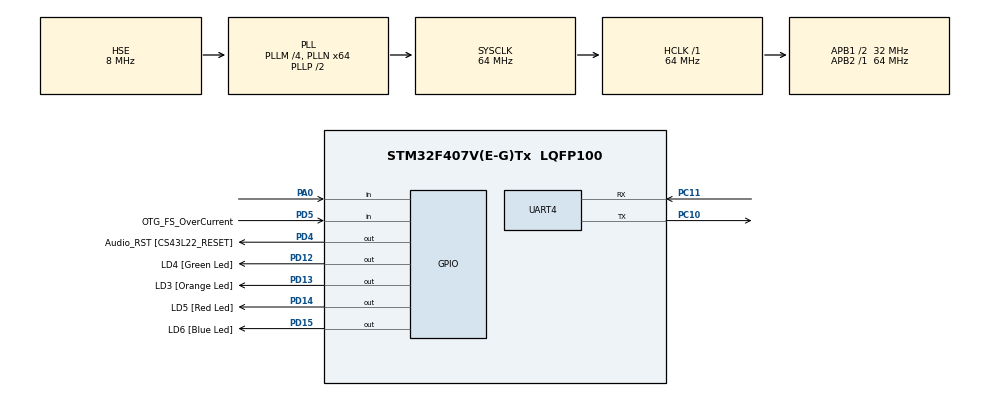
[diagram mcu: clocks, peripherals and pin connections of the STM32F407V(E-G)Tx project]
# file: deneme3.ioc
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ADC1.Channel-0\#ChannelRegularConversion=ADC_CHANNEL_TEMPSENSOR
ADC1.Channel-1\#ChannelRegularConversion=ADC_CHANNEL_VREFINT
ADC1.ContinuousConvMode=ENABLE
ADC1.EOCSelection=ADC_EOC_SINGLE_CONV
ADC1.NbrOfConversion=2
ADC1.NbrOfConversionFlag=1
ADC1.Rank-0\#ChannelRegularConversion=1
ADC1.Rank-1\#ChannelRegularConversion=2
ADC1.SamplingTime-0\#ChannelRegularConversion=ADC_SAMPLETIME_480CYCLES
ADC1.SamplingTime-1\#ChannelRegularConversion=ADC_SAMPLETIME_480CYCLES
ADC1.master=1
Mcu.Family=STM32F4
Mcu.Name=STM32F407V(E-G)Tx
Mcu.Package=LQFP100
NVIC.PriorityGroup=NVIC_PRIORITYGROUP_0
PA0-WKUP.GPIO_PuPd=GPIO_PULLDOWN
PA0-WKUP.Signal=GPIO_Input
PA13.GPIO_Label=SWDIO
PA13.Mode=Serial_Wire
PA13.Signal=SYS_JTMS-SWDIO
PA14.Mode=Serial_Wire
PA14.Signal=SYS_JTCK-SWCLK
PC10.GPIO_Speed=GPIO_SPEED_FREQ_HIGH
PC10.Mode=Asynchronous
PC10.Signal=UART4_TX
PC11.GPIO_Speed=GPIO_SPEED_FREQ_HIGH
PC11.Mode=Asynchronous
PC11.Signal=UART4_RX
PD12.GPIO_Label=LD4 [Green Led]
PD12.GPIO_PuPd=GPIO_NOPULL
PD12.GPIO_Speed=GPIO_SPEED_FREQ_LOW
PD12.Signal=GPIO_Output
PD13.GPIO_Label=LD3 [Orange Led]
PD13.GPIO_PuPd=GPIO_NOPULL
PD13.GPIO_Speed=GPIO_SPEED_FREQ_LOW
PD13.Signal=GPIO_Output
PD14.GPIO_Label=LD5 [Red Led]
PD14.GPIO_PuPd=GPIO_NOPULL
PD14.GPIO_Speed=GPIO_SPEED_FREQ_LOW
PD14.Signal=GPIO_Output
PD15.GPIO_Label=LD6 [Blue Led]
PD15.GPIO_PuPd=GPIO_NOPULL
PD15.GPIO_Speed=GPIO_SPEED_FREQ_LOW
PD15.Signal=GPIO_Output
PD4.GPIO_Label=Audio_RST [CS43L22_RESET]
PD4.GPIO_PuPd=GPIO_NOPULL
PD4.GPIO_Speed=GPIO_SPEED_FREQ_LOW
PD4.Signal=GPIO_Output
PD5.GPIO_Label=OTG_FS_OverCurrent
PD5.GPIO_Mode=GPIO_MODE_INPUT
PD5.GPIO_PuPd=GPIO_NOPULL
PD5.Signal=GPIO_Input
PH0-OSC_IN.GPIO_Label=PH0-OSC_IN
PH0-OSC_IN.Mode=HSE-External-Oscillator
PH0-OSC_IN.Signal=RCC_OSC_IN
PH1-OSC_OUT.GPIO_Label=PH1-OSC_OUT
PH1-OSC_OUT.Mode=HSE-External-Oscillator
PH1-OSC_OUT.Signal=RCC_OSC_OUT
ProjectManager.HeapSize=0x200
ProjectManager.StackSize=0x400
ProjectManager.TargetToolchain=STM32CubeIDE
RCC.48MHZClocksFreq_Value=42666666.666666664
RCC.AHBFreq_Value=64000000
RCC.APB1CLKDivider=RCC_HCLK_DIV2
RCC.APB1Freq_Value=32000000
RCC.APB1TimFreq_Value=64000000
RCC.APB2Freq_Value=64000000
RCC.APB2TimFreq_Value=64000000
RCC.CortexFreq_Value=64000000
RCC.HCLKFreq_Value=64000000
RCC.HSE_VALUE=8000000
RCC.HSI_VALUE=16000000
RCC.LSE_VALUE=32768
RCC.PLLM=4
RCC.PLLN=64
RCC.PLLQ=3
RCC.PLLSourceVirtual=RCC_PLLSOURCE_HSE
RCC.SYSCLKFreq_VALUE=64000000
RCC.SYSCLKSource=RCC_SYSCLKSOURCE_PLLCLK
RCC.VCOOutputFreq_Value=128000000
UART4.VirtualMode=Asynchronous
VP_ADC1_TempSens_Input.Mode=IN-TempSens
VP_ADC1_Vref_Input.Mode=IN-Vrefint
board=STM32F407G-DISC1

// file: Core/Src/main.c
/* USER CODE BEGIN Header */
/**
  ******************************************************************************
  * @file           : main.c
  * @brief          : Modbus RTU Slave - Temperature & Vref Monitoring (POLLING MODE)
  ******************************************************************************
  * @attention
  *
  * Copyright (c) 2025 STMicroelectronics.
  * All rights reserved.
  *
  ******************************************************************************
  */
/* USER CODE END Header */
#include "main.h"

/* USER CODE BEGIN PD */
#define MODBUS_SLAVE_ID        1
#define MODBUS_FUNC_READ_HOLD  0x03
#define MODBUS_BUFFER_SIZE     64
#define MODBUS_TIMEOUT         100  // ms
#define MODBUS_FRAME_TIMEOUT   10   // ms (discard an incomplete 8-byte request)
#define DEBOUNCE_DELAY 100 // ms

// Register adresleri
#define REG_TEMP_HIGH          0
#define REG_TEMP_LOW           1
#define REG_VREF_HIGH          2
#define REG_VREF_LOW           3
#define REG_BUTTON_STATE  4   // Buton durumunu tutacak register
#define TOTAL_REGISTERS   5

// LED Pinleri
#define LED_TX_PORT    GPIOD
#define LED_TX_PIN     GPIO_PIN_13  // Turuncu LED (LD3)
#define LED_RX_PORT    GPIOD
#define LED_RX_PIN     GPIO_PIN_15  // Mavi LED (LD6)
#define LED_BLINK_TIME 500          // ms
/* USER CODE END PD */

ADC_HandleTypeDef hadc1;
GPIO_PinState btn_State;
UART_HandleTypeDef huart4;

/* USER CODE BEGIN PV */
volatile uint16_t adc_raw_temp = 0;
volatile uint16_t adc_raw_vref = 0;
volatile float vref_voltage = 0.0f;
volatile float temp_celsius = 0.0f;

// Debounce değişkenleri
uint32_t button_high_start = 0;
uint8_t button_debounce_active = 0;  // 0: beklemede, 1: HIGH takibi aktif
uint8_t button_stable_state = 0;     // 0: basılmamış, 1: basılı

// Modbus değişkenleri
uint8_t modbus_tx_buffer[MODBUS_BUFFER_SIZE];
uint8_t modbus_rx_buffer[MODBUS_BUFFER_SIZE];
uint16_t modbus_rx_index = 0;
uint32_t last_rx_time = 0;

uint16_t holding_registers[TOTAL_REGISTERS] = {0};

// LED timing
uint32_t led_tx_time = 0;
uint32_t led_rx_time = 0;
/* USER CODE END PV */

void SystemClock_Config(void);
static void MX_GPIO_Init(void);
static void MX_ADC1_Init(void);
static void MX_UART4_Init(void);
/* USER CODE BEGIN PFP */
void ADC_Read_All_Channels(void);
void Update_Holding_Registers(void);
uint16_t Calculate_CRC16(uint8_t *buffer, uint8_t length);
void Modbus_Process_Request(void);
void Float_To_Registers(float value, uint16_t *high_reg, uint16_t *low_reg);
void LED_TX_On(void);
void LED_RX_On(void);
void LED_Update(void);
uint8_t UART_Receive_Byte(uint8_t *data, uint32_t timeout);
/* USER CODE END PFP */

/* USER CODE BEGIN 0 */

/**
  * @brief  TX LED'ini yak
  * @retval None
  */
void LED_TX_On(void)
{
    HAL_GPIO_WritePin(LED_TX_PORT, LED_TX_PIN, GPIO_PIN_SET);
    led_tx_time = HAL_GetTick();
}

/**
  * @brief  RX LED'ini yak
  * @retval None
  */
void LED_RX_On(void)
{
    HAL_GPIO_WritePin(LED_RX_PORT, LED_RX_PIN, GPIO_PIN_SET);
    led_rx_time = HAL_GetTick(); // Mavi led en son ne zaman yakılı bunu takip eder daha sonra satır 136 daki kodda bu bilgi kullanılır
}

/**
  * @brief  LED'leri güncelle (süre dolduysa söndür)
  * @retval None
  */
void LED_Update(void)
{
    uint32_t current_time = HAL_GetTick();

    if (led_tx_time > 0 && (current_time - led_tx_time) >= LED_BLINK_TIME)
    {
        HAL_GPIO_WritePin(LED_TX_PORT, LED_TX_PIN, GPIO_PIN_RESET);
        led_tx_time = 0;
    }

    if (led_rx_time > 0 && (current_time - led_rx_time) >= LED_BLINK_TIME)
    {
        HAL_GPIO_WritePin(LED_RX_PORT, LED_RX_PIN, GPIO_PIN_RESET);
        led_rx_time = 0;
    }
}

/**
  * @brief  UART'tan polling ile tek byte oku
  * @param  data: Okunan veri
  * @param  timeout: Timeout süresi (ms)
  * @retval 1: Başarılı, 0: Timeout
  */
uint8_t UART_Receive_Byte(uint8_t *data, uint32_t timeout)
{
    if (HAL_UART_Receive(&huart4, data, 1, timeout) == HAL_OK)
    {
        LED_RX_On();  // Her RX'te mavi LED yanar
        return 1;
    }
    return 0;
}

/**
  * @brief  ADC'den iki channel'ı polling ile oku
  * @retval None
  */
void ADC_Read_All_Channels(void)
{
    ADC_ChannelConfTypeDef sConfig = {0};

    HAL_ADC_Stop(&hadc1);

    // Channel 1: Temperature Sensor
    sConfig.Channel = ADC_CHANNEL_TEMPSENSOR;
    sConfig.Rank = 1;
    sConfig.SamplingTime = ADC_SAMPLETIME_480CYCLES;

    if (HAL_ADC_ConfigChannel(&hadc1, &sConfig) == HAL_OK)
    {
        HAL_ADC_Start(&hadc1);
        if (HAL_ADC_PollForConversion(&hadc1, 100) == HAL_OK)
        {
            adc_raw_temp = HAL_ADC_GetValue(&hadc1);
        }
        HAL_ADC_Stop(&hadc1);
    }

    HAL_Delay(2);

    // Channel 2: Vref Internal
    sConfig.Channel = ADC_CHANNEL_VREFINT;
    sConfig.Rank = 1;
    sConfig.SamplingTime = ADC_SAMPLETIME_480CYCLES;

    if (HAL_ADC_ConfigChannel(&hadc1, &sConfig) == HAL_OK)
    {
        HAL_ADC_Start(&hadc1);
        if (HAL_ADC_PollForConversion(&hadc1, 100) == HAL_OK)
        {
            adc_raw_vref = HAL_ADC_GetValue(&hadc1);
        }
        HAL_ADC_Stop(&hadc1);
    }

    if (adc_raw_vref > 100 && adc_raw_vref < 4095)
    {
        // Estimate VDDA from nominal VREFINT (1.21 V). This is not a direct
        // measurement of the internal reference voltage or a calibrated value.
        vref_voltage = (1.21f * 4095.0f) / (float)adc_raw_vref;
        float temp_voltage = ((float)adc_raw_temp * vref_voltage) / 4095.0f;
        temp_celsius = ((temp_voltage - 0.76f) / 0.0025f) + 25.0f;
    }
}

/**
  * @brief  Buton debouncing algoritması (100ms boyunca HIGH kalırsa geçerli)
  * @retval None
  */
void Button_Debounce_Update(void)
{
    GPIO_PinState raw_state = HAL_GPIO_ReadPin(GPIOA, GPIO_PIN_0);
    uint32_t current_time = HAL_GetTick();

    if (raw_state == GPIO_PIN_SET)
    {
        // HIGH tespit edildi
        if (!button_debounce_active)
        {
            // İlk kez HIGH'a geçti, zaman sayacını başlat
            button_debounce_active = 1;
            button_high_start = current_time;
        }
        else
        {
            // Zaten HIGH takibi aktif, süre doldu mu kontrol et
            if ((current_time - button_high_start) >= DEBOUNCE_DELAY)
            {
                button_stable_state = 1; // 100ms boyunca HIGH kaldı
            }
        }
    }
    else
    {
        // LOW tespit edildi → sıfırla
        button_debounce_active = 0;
        button_high_start = 0;
        button_stable_state = 0;
    }

    // Holding register'ı güncelle
    holding_registers[REG_BUTTON_STATE] = button_stable_state;
    // Butonun debounce edilmiş hali (button_stable_state) Modbus holding register dizisine yazılıyor.

}

/**
  * @brief  Float'ı 2 adet 16-bit register'a dönüştür
  * @param  value: Float değer
  * @param  high_reg: Yüksek word (MSB)
  * @param  low_reg: Düşük word (LSB)
  * @retval None
  */
void Float_To_Registers(float value, uint16_t *high_reg, uint16_t *low_reg)
{
    union {
        float f;
        uint32_t u;
    } data;

    data.f = value;
    *high_reg = (uint16_t)((data.u >> 16) & 0xFFFF);
    *low_reg = (uint16_t)(data.u & 0xFFFF);
}

/**
  * @brief  Holding register'ları güncelle
  * @retval None
  */
void Update_Holding_Registers(void)
{
    Float_To_Registers(temp_celsius,
                      &holding_registers[REG_TEMP_HIGH], // REG_TEMP_HIGH (sıcaklık float üst 16 bit)
                      &holding_registers[REG_TEMP_LOW]); // REG_TEMP_LOW  (sıcaklık float alt 16 bit)

    Float_To_Registers(vref_voltage,
                      &holding_registers[REG_VREF_HIGH], // REG_VREF_HIGH (vref float üst 16 bit)
                      &holding_registers[REG_VREF_LOW]); // REG_VREF_LOW  (vref float alt 16 bit)
}

/**
  * @brief  CRC-16 hesaplama (Modbus standardı)
  * @param  buffer: Veri buffer'ı
  * @param  length: Veri uzunluğu
  * @retval CRC-16 değeri
  */
uint16_t Calculate_CRC16(uint8_t *buffer, uint8_t length)
{
    uint16_t crc = 0xFFFF;
    uint8_t i, j;

    for (i = 0; i < length; i++)
    {
        crc ^= (uint16_t)buffer[i]; // Bit düzeyinde XOR ile işlem yapılır

        for (j = 0; j < 8; j++)
        {
            if (crc & 0x0001)
            {
                crc >>= 1;
                crc ^= 0xA001;
            }
            else
            {
                crc >>= 1;
            }
        }
    }

    return crc;
}

/**
  * @brief  Modbus isteğini işle ve yanıt gönder
  * @retval None
  */
void Modbus_Process_Request(void)
{
    // Function 0x03 requests are exactly eight bytes, including CRC.
    if (modbus_rx_index != 8)
    {
        modbus_rx_index = 0;
        return;
    }

    // CRC kontrolü
    uint16_t received_crc = ((uint16_t)modbus_rx_buffer[modbus_rx_index - 1] << 8) |
                            modbus_rx_buffer[modbus_rx_index - 2];
    uint16_t calculated_crc = Calculate_CRC16(modbus_rx_buffer, modbus_rx_index - 2);

    if (received_crc != calculated_crc)
    {
        modbus_rx_index = 0;
        return;
    }

    // Slave ID kontrolü
    if (modbus_rx_buffer[0] != MODBUS_SLAVE_ID)
    {// Eğer gelen mesajın ID'si benim ID'm değilse cevap verme
        modbus_rx_index = 0;
        return;
    }

    uint8_t function_code = modbus_rx_buffer[1];

    if (function_code == MODBUS_FUNC_READ_HOLD)
    {
        uint16_t start_address = ((uint16_t)modbus_rx_buffer[2] << 8) | modbus_rx_buffer[3];
        uint16_t num_registers = ((uint16_t)modbus_rx_buffer[4] << 8) | modbus_rx_buffer[5];

        // Adres kontrolü
        if (start_address + num_registers > TOTAL_REGISTERS || num_registers == 0)
        {
            // Exception response
            modbus_tx_buffer[0] = MODBUS_SLAVE_ID;
            modbus_tx_buffer[1] = function_code | 0x80;
            modbus_tx_buffer[2] = 0x02;

            uint16_t crc = Calculate_CRC16(modbus_tx_buffer, 3);
            modbus_tx_buffer[3] = (uint8_t)(crc & 0xFF);
            modbus_tx_buffer[4] = (uint8_t)(crc >> 8);

            HAL_UART_Transmit(&huart4, modbus_tx_buffer, 5, MODBUS_TIMEOUT);
            LED_TX_On();  // TX LED yak

            modbus_rx_index = 0;
            return;
        }

        // Normal response
        modbus_tx_buffer[0] = MODBUS_SLAVE_ID;
        modbus_tx_buffer[1] = function_code;
        modbus_tx_buffer[2] = num_registers * 2;

        uint8_t index = 3;
        for (uint16_t i = 0; i < num_registers; i++)
        {
            uint16_t reg_value = holding_registers[start_address + i];
            modbus_tx_buffer[index++] = (uint8_t)(reg_value >> 8);
            modbus_tx_buffer[index++] = (uint8_t)(reg_value & 0xFF);
        }

        uint16_t crc = Calculate_CRC16(modbus_tx_buffer, index);
        modbus_tx_buffer[index++] = (uint8_t)(crc & 0xFF);
        modbus_tx_buffer[index++] = (uint8_t)(crc >> 8);

        HAL_UART_Transmit(&huart4, modbus_tx_buffer, index, MODBUS_TIMEOUT);
        LED_TX_On();  // TX LED yak
    }
    else
    {
        // Desteklenmeyen fonksiyon
        modbus_tx_buffer[0] = MODBUS_SLAVE_ID;
        modbus_tx_buffer[1] = function_code | 0x80;
        modbus_tx_buffer[2] = 0x01;

        uint16_t crc = Calculate_CRC16(modbus_tx_buffer, 3);
        modbus_tx_buffer[3] = (uint8_t)(crc & 0xFF);
        modbus_tx_buffer[4] = (uint8_t)(crc >> 8);

        HAL_UART_Transmit(&huart4, modbus_tx_buffer, 5, MODBUS_TIMEOUT);
        LED_TX_On();  // TX LED yak
    }

    modbus_rx_index = 0;
}

/* USER CODE END 0 */

int main(void)
{

  /* MCU Configuration--------------------------------------------------------*/

  /* Reset of all peripherals, Initializes the Flash interface and the Systick. */
  HAL_Init();

  /* Configure the system clock */
  SystemClock_Config();

  /* Initialize all configured peripherals */
  MX_GPIO_Init();
  MX_ADC1_Init();
  MX_UART4_Init();
  /* USER CODE BEGIN 2 */

  // İlk ADC okuması
  ADC_Read_All_Channels();
  Update_Holding_Registers();

  // LED'leri söndür
  HAL_GPIO_WritePin(LED_TX_PORT, LED_TX_PIN, GPIO_PIN_RESET);
  HAL_GPIO_WritePin(LED_RX_PORT, LED_RX_PIN, GPIO_PIN_RESET);

  /* USER CODE END 2 */

  /* Infinite loop */
  /* USER CODE BEGIN WHILE */
  uint32_t last_adc_update = 0;
  uint8_t rx_byte = 0;

  while (1)
  {
    /* USER CODE END WHILE */

    /* USER CODE BEGIN 3 */
    Button_Debounce_Update();
    LED_Update();

    // Drop partial requests after 10 ms. This is an application timeout,
    // not a full Modbus RTU inter-character timing implementation.
    if (modbus_rx_index > 0 && (HAL_GetTick() - last_rx_time) >= MODBUS_FRAME_TIMEOUT)
    {
        modbus_rx_index = 0;
    }

    // Each supported Function 0x03 request consists of exactly eight bytes.
    // Process it immediately after receipt; do not wait for a long idle gap.
    if (UART_Receive_Byte(&rx_byte, 1))
    {
        if (modbus_rx_index < 8)
        {
            modbus_rx_buffer[modbus_rx_index++] = rx_byte;
            last_rx_time = HAL_GetTick();
            if (modbus_rx_index == 8)
            {
                Modbus_Process_Request();
            }
        }
        else
        {
            modbus_rx_index = 0;
        }
    }

    // Do not interrupt a partially received request for ADC conversion.
    // The ADC read is still polling-based and is not interrupt-safe.
    if (modbus_rx_index == 0 && HAL_GetTick() - last_adc_update >= 500)
    {
        ADC_Read_All_Channels();
        Update_Holding_Registers();
        last_adc_update = HAL_GetTick();
    }
  }
  /* USER CODE END 3 */
}

void SystemClock_Config(void)
{
  RCC_OscInitTypeDef RCC_OscInitStruct = {0};
  RCC_ClkInitTypeDef RCC_ClkInitStruct = {0};

  /** Configure the main internal regulator output voltage
  */
  __HAL_RCC_PWR_CLK_ENABLE();
  __HAL_PWR_VOLTAGESCALING_CONFIG(PWR_REGULATOR_VOLTAGE_SCALE1);

  /** Initializes the RCC Oscillators according to the specified parameters
  * in the RCC_OscInitTypeDef structure.
  */
  RCC_OscInitStruct.OscillatorType = RCC_OSCILLATORTYPE_HSE;
  RCC_OscInitStruct.HSEState = RCC_HSE_ON;
  RCC_OscInitStruct.PLL.PLLState = RCC_PLL_ON;
  RCC_OscInitStruct.PLL.PLLSource = RCC_PLLSOURCE_HSE;
  RCC_OscInitStruct.PLL.PLLM = 4;
  RCC_OscInitStruct.PLL.PLLN = 64;
  RCC_OscInitStruct.PLL.PLLP = RCC_PLLP_DIV2;
  RCC_OscInitStruct.PLL.PLLQ = 3;
  if (HAL_RCC_OscConfig(&RCC_OscInitStruct) != HAL_OK)
  {
    Error_Handler();
  }

  /** Initializes the CPU, AHB and APB buses clocks
  */
  RCC_ClkInitStruct.ClockType = RCC_CLOCKTYPE_HCLK|RCC_CLOCKTYPE_SYSCLK
                              |RCC_CLOCKTYPE_PCLK1|RCC_CLOCKTYPE_PCLK2;
  RCC_ClkInitStruct.SYSCLKSource = RCC_SYSCLKSOURCE_PLLCLK;
  RCC_ClkInitStruct.AHBCLKDivider = RCC_SYSCLK_DIV1;
  RCC_ClkInitStruct.APB1CLKDivider = RCC_HCLK_DIV2;
  RCC_ClkInitStruct.APB2CLKDivider = RCC_HCLK_DIV1;

  if (HAL_RCC_ClockConfig(&RCC_ClkInitStruct, FLASH_LATENCY_2) != HAL_OK)
  {
    Error_Handler();
  }
}

static void MX_ADC1_Init(void)
{

  ADC_ChannelConfTypeDef sConfig = {0};

  /** Configure the global features of the ADC (Clock, Resolution, Data Alignment and number of conversion)
  */
  hadc1.Instance = ADC1;
  hadc1.Init.ClockPrescaler = ADC_CLOCK_SYNC_PCLK_DIV2;
  hadc1.Init.Resolution = ADC_RESOLUTION_12B;
  hadc1.Init.ScanConvMode = ENABLE;
  hadc1.Init.ContinuousConvMode = ENABLE;
  hadc1.Init.DiscontinuousConvMode = DISABLE;
  hadc1.Init.ExternalTrigConvEdge = ADC_EXTERNALTRIGCONVEDGE_NONE;
  hadc1.Init.ExternalTrigConv = ADC_SOFTWARE_START;
  hadc1.Init.DataAlign = ADC_DATAALIGN_RIGHT;
  hadc1.Init.NbrOfConversion = 2;
  hadc1.Init.DMAContinuousRequests = DISABLE;
  hadc1.Init.EOCSelection = ADC_EOC_SINGLE_CONV;
  if (HAL_ADC_Init(&hadc1) != HAL_OK)
  {
    Error_Handler();
  }

  /** Configure for the selected ADC regular channel its corresponding rank in the sequencer and its sample time.
  */
  sConfig.Channel = ADC_CHANNEL_TEMPSENSOR;
  sConfig.Rank = 1;
  sConfig.SamplingTime = ADC_SAMPLETIME_480CYCLES;
  if (HAL_ADC_ConfigChannel(&hadc1, &sConfig) != HAL_OK)
  {
    Error_Handler();
  }

  /** Configure for the selected ADC regular channel its corresponding rank in the sequencer and its sample time.
  */
  sConfig.Channel = ADC_CHANNEL_VREFINT;
  sConfig.Rank = 2;
  if (HAL_ADC_ConfigChannel(&hadc1, &sConfig) != HAL_OK)
  {
    Error_Handler();
  }

}

static void MX_UART4_Init(void)
{

  huart4.Instance = UART4;
  huart4.Init.BaudRate = 115200;
  huart4.Init.WordLength = UART_WORDLENGTH_8B;
  huart4.Init.StopBits = UART_STOPBITS_1;
  huart4.Init.Parity = UART_PARITY_NONE;
  huart4.Init.Mode = UART_MODE_TX_RX;
  huart4.Init.HwFlowCtl = UART_HWCONTROL_NONE;
  huart4.Init.OverSampling = UART_OVERSAMPLING_16;
  if (HAL_UART_Init(&huart4) != HAL_OK)
  {
    Error_Handler();
  }

}

static void MX_GPIO_Init(void)
{
  GPIO_InitTypeDef GPIO_InitStruct = {0};

  /* GPIO Ports Clock Enable */
  __HAL_RCC_GPIOH_CLK_ENABLE();
  __HAL_RCC_GPIOA_CLK_ENABLE();
  __HAL_RCC_GPIOD_CLK_ENABLE();
  __HAL_RCC_GPIOC_CLK_ENABLE();

  /*Configure GPIO pin Output Level */
  HAL_GPIO_WritePin(GPIOD, LD4_Pin|LD3_Pin|LD5_Pin|LD6_Pin
                          |Audio_RST_Pin, GPIO_PIN_RESET);

  /*Configure GPIO pin : PA0 */
  GPIO_InitStruct.Pin = GPIO_PIN_0;
  GPIO_InitStruct.Mode = GPIO_MODE_INPUT;
  GPIO_InitStruct.Pull = GPIO_PULLDOWN;
  HAL_GPIO_Init(GPIOA, &GPIO_InitStruct);

  /*Configure GPIO pins : LD4_Pin LD3_Pin LD5_Pin LD6_Pin
                           Audio_RST_Pin */
  GPIO_InitStruct.Pin = LD4_Pin|LD3_Pin|LD5_Pin|LD6_Pin
                          |Audio_RST_Pin;
  GPIO_InitStruct.Mode = GPIO_MODE_OUTPUT_PP;
  GPIO_InitStruct.Pull = GPIO_NOPULL;
  GPIO_InitStruct.Speed = GPIO_SPEED_FREQ_LOW;
  HAL_GPIO_Init(GPIOD, &GPIO_InitStruct);

  /*Configure GPIO pin : OTG_FS_OverCurrent_Pin */
  GPIO_InitStruct.Pin = OTG_FS_OverCurrent_Pin;
  GPIO_InitStruct.Mode = GPIO_MODE_INPUT;
  GPIO_InitStruct.Pull = GPIO_NOPULL;
  HAL_GPIO_Init(OTG_FS_OverCurrent_GPIO_Port, &GPIO_InitStruct);

}

void Error_Handler(void)
{
  __disable_irq();
  while (1)
  {
  }
}
